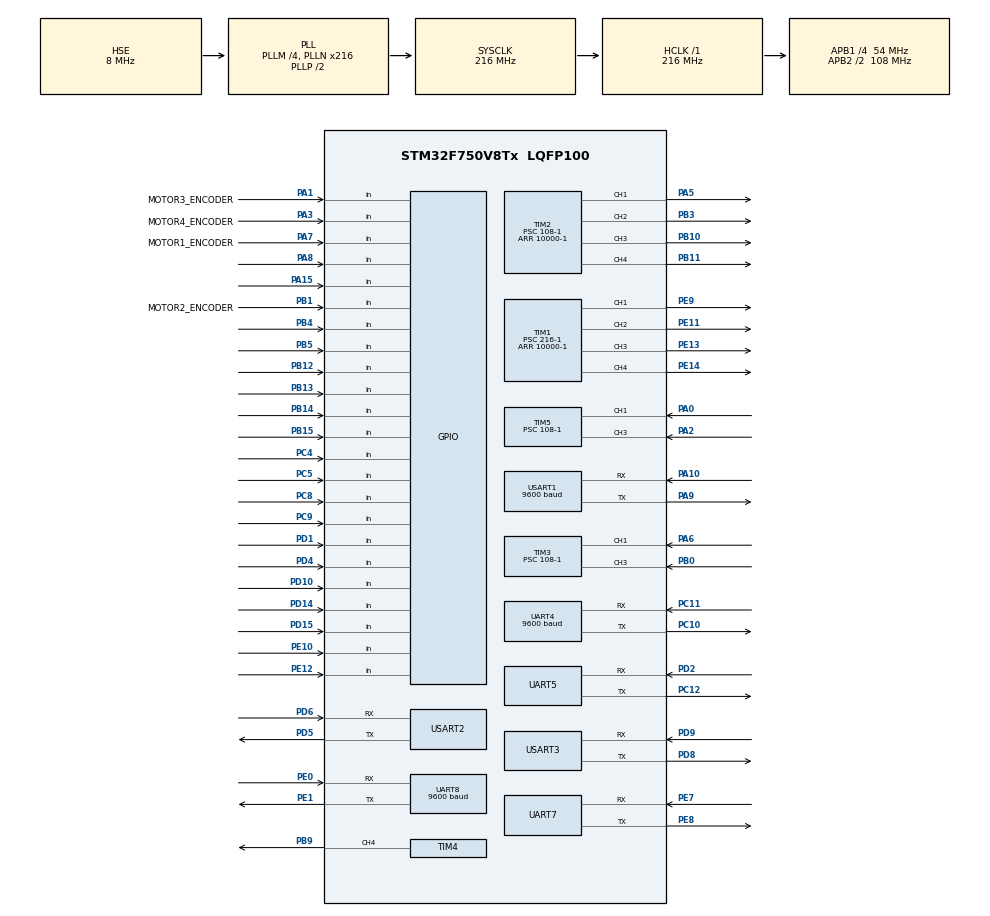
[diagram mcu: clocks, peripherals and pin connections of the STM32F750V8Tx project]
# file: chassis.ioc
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Dma.Request0=USART2_RX
Dma.Request1=UART4_RX
Dma.Request2=UART8_RX
Dma.Request3=USART1_RX
Dma.Request4=UART7_RX
Dma.UART4_RX.1.Direction=DMA_PERIPH_TO_MEMORY
Dma.UART4_RX.1.FIFOMode=DMA_FIFOMODE_DISABLE
Dma.UART4_RX.1.Instance=DMA1_Stream2
Dma.UART4_RX.1.MemDataAlignment=DMA_MDATAALIGN_BYTE
Dma.UART4_RX.1.MemInc=DMA_MINC_ENABLE
Dma.UART4_RX.1.Mode=DMA_NORMAL
Dma.UART4_RX.1.PeriphDataAlignment=DMA_PDATAALIGN_BYTE
Dma.UART4_RX.1.PeriphInc=DMA_PINC_DISABLE
Dma.UART4_RX.1.Priority=DMA_PRIORITY_LOW
Dma.UART7_RX.4.Direction=DMA_PERIPH_TO_MEMORY
Dma.UART7_RX.4.FIFOMode=DMA_FIFOMODE_DISABLE
Dma.UART7_RX.4.Instance=DMA1_Stream3
Dma.UART7_RX.4.MemDataAlignment=DMA_MDATAALIGN_BYTE
Dma.UART7_RX.4.MemInc=DMA_MINC_ENABLE
Dma.UART7_RX.4.Mode=DMA_NORMAL
Dma.UART7_RX.4.PeriphDataAlignment=DMA_PDATAALIGN_BYTE
Dma.UART7_RX.4.PeriphInc=DMA_PINC_DISABLE
Dma.UART7_RX.4.Priority=DMA_PRIORITY_LOW
Dma.UART8_RX.2.Direction=DMA_PERIPH_TO_MEMORY
Dma.UART8_RX.2.FIFOMode=DMA_FIFOMODE_DISABLE
Dma.UART8_RX.2.Instance=DMA1_Stream6
Dma.UART8_RX.2.MemDataAlignment=DMA_MDATAALIGN_BYTE
Dma.UART8_RX.2.MemInc=DMA_MINC_ENABLE
Dma.UART8_RX.2.Mode=DMA_NORMAL
Dma.UART8_RX.2.PeriphDataAlignment=DMA_PDATAALIGN_BYTE
Dma.UART8_RX.2.PeriphInc=DMA_PINC_DISABLE
Dma.UART8_RX.2.Priority=DMA_PRIORITY_LOW
Dma.USART1_RX.3.Direction=DMA_PERIPH_TO_MEMORY
Dma.USART1_RX.3.FIFOMode=DMA_FIFOMODE_DISABLE
Dma.USART1_RX.3.Instance=DMA2_Stream2
Dma.USART1_RX.3.MemDataAlignment=DMA_MDATAALIGN_BYTE
Dma.USART1_RX.3.MemInc=DMA_MINC_ENABLE
Dma.USART1_RX.3.Mode=DMA_NORMAL
Dma.USART1_RX.3.PeriphDataAlignment=DMA_PDATAALIGN_BYTE
Dma.USART1_RX.3.PeriphInc=DMA_PINC_DISABLE
Dma.USART1_RX.3.Priority=DMA_PRIORITY_LOW
Dma.USART2_RX.0.Direction=DMA_PERIPH_TO_MEMORY
Dma.USART2_RX.0.FIFOMode=DMA_FIFOMODE_DISABLE
Dma.USART2_RX.0.Instance=DMA1_Stream5
Dma.USART2_RX.0.MemDataAlignment=DMA_MDATAALIGN_BYTE
Dma.USART2_RX.0.MemInc=DMA_MINC_ENABLE
Dma.USART2_RX.0.Mode=DMA_NORMAL
Dma.USART2_RX.0.PeriphDataAlignment=DMA_PDATAALIGN_BYTE
Dma.USART2_RX.0.PeriphInc=DMA_PINC_DISABLE
Dma.USART2_RX.0.Priority=DMA_PRIORITY_LOW
Mcu.Family=STM32F7
Mcu.Name=STM32F750V8Tx
Mcu.Package=LQFP100
NVIC.DMA1_Stream2_IRQn=true\:0\:0\:false\:false\:true\:false\:true
NVIC.DMA1_Stream3_IRQn=true\:0\:0\:false\:false\:true\:false\:true
NVIC.DMA1_Stream5_IRQn=true\:0\:0\:false\:false\:true\:false\:true
NVIC.DMA1_Stream6_IRQn=true\:0\:0\:false\:false\:true\:false\:true
NVIC.DMA2_Stream2_IRQn=true\:0\:0\:false\:false\:true\:false\:true
NVIC.PriorityGroup=NVIC_PRIORITYGROUP_4
NVIC.TIM3_IRQn=true\:0\:0\:false\:false\:true\:true\:true
NVIC.TIM5_IRQn=true\:0\:0\:true\:false\:true\:true\:true
NVIC.TIM6_DAC_IRQn=true\:5\:0\:true\:false\:true\:true\:true
NVIC.UART4_IRQn=true\:3\:0\:true\:false\:true\:true\:true
NVIC.UART5_IRQn=true\:4\:0\:true\:false\:true\:true\:true
NVIC.UART7_IRQn=true\:0\:0\:false\:false\:true\:true\:true
NVIC.UART8_IRQn=true\:2\:0\:true\:false\:true\:true\:true
NVIC.USART2_IRQn=true\:1\:0\:true\:false\:true\:true\:true
PA0/WKUP.GPIO_PuPd=GPIO_PULLDOWN
PA0/WKUP.Signal=S_TIM5_CH1
PA1.GPIO_Label=MOTOR3_ENCODER
PA1.Signal=GPIO_Input
PA10.Mode=Asynchronous
PA10.Signal=USART1_RX
PA13.Mode=Serial_Wire
PA13.Signal=SYS_JTMS-SWDIO
PA14.Mode=Serial_Wire
PA14.Signal=SYS_JTCK-SWCLK
PA15.Signal=GPIO_Input
PA2.GPIO_PuPd=GPIO_PULLDOWN
PA2.Signal=S_TIM5_CH3
PA3.GPIO_Label=MOTOR4_ENCODER
PA3.Signal=GPIO_Input
PA5.Signal=S_TIM2_CH1_ETR
PA6.GPIO_PuPd=GPIO_PULLDOWN
PA6.Signal=S_TIM3_CH1
PA7.GPIO_Label=MOTOR1_ENCODER
PA7.Signal=GPIO_Input
PA8.GPIO_PuPd=GPIO_PULLDOWN
PA8.Signal=GPIO_Input
PA9.Mode=Asynchronous
PA9.Signal=USART1_TX
PB0.GPIO_PuPd=GPIO_PULLDOWN
PB0.Signal=S_TIM3_CH3
PB1.GPIO_Label=MOTOR2_ENCODER
PB1.Signal=GPIO_Input
PB10.Signal=S_TIM2_CH3
PB11.Signal=S_TIM2_CH4
PB12.Signal=GPIO_Input
PB13.Signal=GPIO_Input
PB14.Signal=GPIO_Input
PB15.Signal=GPIO_Input
PB3.Signal=S_TIM2_CH2
PB4.Signal=GPIO_Input
PB5.Signal=GPIO_Input
PB9.Signal=S_TIM4_CH4
PC10.Mode=Asynchronous
PC10.Signal=UART4_TX
PC11.Mode=Asynchronous
PC11.Signal=UART4_RX
PC12.Mode=Asynchronous
PC12.Signal=UART5_TX
PC4.Signal=GPIO_Input
PC5.Signal=GPIO_Input
PC8.GPIO_PuPd=GPIO_PULLDOWN
PC8.Signal=GPIO_Input
PC9.GPIO_PuPd=GPIO_PULLDOWN
PC9.Signal=GPIO_Input
PD1.Signal=GPIO_Input
PD10.Signal=GPIO_Input
PD14.GPIO_PuPd=GPIO_PULLDOWN
PD14.Signal=GPIO_Input
PD15.GPIO_PuPd=GPIO_PULLDOWN
PD15.Signal=GPIO_Input
PD2.Mode=Asynchronous
PD2.Signal=UART5_RX
PD4.Signal=GPIO_Input
PD5.Mode=Asynchronous
PD5.Signal=USART2_TX
PD6.Mode=Asynchronous
PD6.Signal=USART2_RX
PD8.Mode=Asynchronous
PD8.Signal=USART3_TX
PD9.Mode=Asynchronous
PD9.Signal=USART3_RX
PE0.Mode=Asynchronous
PE0.Signal=UART8_RX
PE1.Mode=Asynchronous
PE1.Signal=UART8_TX
PE10.Signal=GPIO_Input
PE11.Signal=S_TIM1_CH2
PE12.Signal=GPIO_Input
PE13.Signal=S_TIM1_CH3
PE14.Signal=S_TIM1_CH4
PE7.Mode=Asynchronous
PE7.Signal=UART7_RX
PE8.Mode=Asynchronous
PE8.Signal=UART7_TX
PE9.Signal=S_TIM1_CH1
PH0/OSC_IN.Mode=HSE-External-Oscillator
PH0/OSC_IN.Signal=RCC_OSC_IN
PH1/OSC_OUT.Mode=HSE-External-Oscillator
PH1/OSC_OUT.Signal=RCC_OSC_OUT
ProjectManager.HeapSize=0x200
ProjectManager.StackSize=0x400
ProjectManager.TargetToolchain=MDK-ARM V5.32
RCC.AHBFreq_Value=216000000
RCC.APB1CLKDivider=RCC_HCLK_DIV4
RCC.APB1Freq_Value=54000000
RCC.APB1TimFreq_Value=108000000
RCC.APB2CLKDivider=RCC_HCLK_DIV2
RCC.APB2Freq_Value=108000000
RCC.APB2TimFreq_Value=216000000
RCC.CortexFreq_Value=216000000
RCC.HCLKFreq_Value=216000000
RCC.HSE_VALUE=8000000
RCC.HSI_VALUE=16000000
RCC.LSE_VALUE=32768
RCC.PLLM=4
RCC.PLLN=216
RCC.PLLSourceVirtual=RCC_PLLSOURCE_HSE
RCC.SYSCLKFreq_VALUE=216000000
RCC.SYSCLKSource=RCC_SYSCLKSOURCE_PLLCLK
RCC.USBFreq_Value=216000000
RCC.VCOOutputFreq_Value=432000000
SH.S_TIM1_CH1.0=TIM1_CH1,PWM Generation1 CH1
SH.S_TIM1_CH2.0=TIM1_CH2,PWM Generation2 CH2
SH.S_TIM1_CH3.0=TIM1_CH3,PWM Generation3 CH3
SH.S_TIM1_CH4.0=TIM1_CH4,PWM Generation4 CH4
SH.S_TIM2_CH1_ETR.0=TIM2_CH1,PWM Generation1 CH1
SH.S_TIM2_CH2.0=TIM2_CH2,PWM Generation2 CH2
SH.S_TIM2_CH3.0=TIM2_CH3,PWM Generation3 CH3
SH.S_TIM2_CH4.0=TIM2_CH4,PWM Generation4 CH4
SH.S_TIM3_CH1.0=TIM3_CH1,Input_Capture1_from_TI1
SH.S_TIM3_CH3.0=TIM3_CH3,Input_Capture3_from_TI3
SH.S_TIM4_CH4.0=TIM4_CH4,PWM Generation4 CH4
SH.S_TIM5_CH1.0=TIM5_CH1,Input_Capture1_from_TI1
SH.S_TIM5_CH3.0=TIM5_CH3,Input_Capture3_from_TI3
TIM1.AutoReloadPreload=TIM_AUTORELOAD_PRELOAD_DISABLE
TIM1.Channel-PWM\ Generation1\ CH1=TIM_CHANNEL_1
TIM1.Channel-PWM\ Generation2\ CH2=TIM_CHANNEL_2
TIM1.Channel-PWM\ Generation3\ CH3=TIM_CHANNEL_3
TIM1.Channel-PWM\ Generation4\ CH4=TIM_CHANNEL_4
TIM1.Period=10000-1
TIM1.Prescaler=216-1
TIM2.Channel-PWM\ Generation1\ CH1=TIM_CHANNEL_1
TIM2.Channel-PWM\ Generation2\ CH2=TIM_CHANNEL_2
TIM2.Channel-PWM\ Generation3\ CH3=TIM_CHANNEL_3
TIM2.Channel-PWM\ Generation4\ CH4=TIM_CHANNEL_4
TIM2.Period=10000-1
TIM2.Prescaler=108-1
TIM3.AutoReloadPreload=TIM_AUTORELOAD_PRELOAD_ENABLE
TIM3.Channel-Input_Capture1_from_TI1=TIM_CHANNEL_1
TIM3.Channel-Input_Capture3_from_TI3=TIM_CHANNEL_3
TIM3.ICFilter_CH1=0
TIM3.ICFilter_CH3=0
TIM3.Prescaler=108-1
TIM4.AutoReloadPreload=TIM_AUTORELOAD_PRELOAD_ENABLE
TIM4.Channel-PWM\ Generation4\ CH4=TIM_CHANNEL_4
TIM4.Period=10000-1
TIM4.Prescaler=108-1
TIM5.AutoReloadPreload=TIM_AUTORELOAD_PRELOAD_ENABLE
TIM5.Channel-Input_Capture1_from_TI1=TIM_CHANNEL_1
TIM5.Channel-Input_Capture3_from_TI3=TIM_CHANNEL_3
TIM5.ICFilter_CH1=0
TIM5.ICFilter_CH3=0
TIM5.Period=65535
TIM5.Prescaler=108-1
TIM6.AutoReloadPreload=TIM_AUTORELOAD_PRELOAD_ENABLE
TIM6.Period=10000-1
TIM6.Prescaler=108-1
UART4.BaudRate=9600
UART8.BaudRate=9600
USART1.BaudRate=9600
USART1.VirtualMode-Asynchronous=VM_ASYNC
USART2.VirtualMode-Asynchronous=VM_ASYNC
USART3.VirtualMode-Asynchronous=VM_ASYNC
VP_TIM1_VS_ClockSourceINT.Mode=Internal
VP_TIM2_VS_ClockSourceINT.Mode=Internal
VP_TIM4_VS_ClockSourceINT.Mode=Internal
VP_TIM6_VS_ClockSourceINT.Mode=Enable_Timer
board=custom

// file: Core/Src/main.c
/* USER CODE BEGIN Header */
/**
  ******************************************************************************
  * @file           : main.c
  * @brief          : Main program body
  ******************************************************************************
  * @attention
  *
  * <h2><center>&copy; Copyright (c) 2021 STMicroelectronics.
  * All rights reserved.</center></h2>
  *
  * This software component is licensed by ST under BSD 3-Clause license,
  * the "License"; You may not use this file except in compliance with the
  * License. You may obtain a copy of the License at:
  *                        opensource.org/licenses/BSD-3-Clause
  *
  ******************************************************************************
  */
/* USER CODE END Header */
#include "main.h"
#include "dma.h"
#include "tim.h"
#include "usart.h"
#include "gpio.h"

/* USER CODE BEGIN Includes */
#include "motor_pwm.h"
#include "motor_encoder.h"
#include "motor_config.h"
#include "motor.h"
#include "motor_task.h"
#include "track_task.h"
#include "avoid_obj_task.h"
#include "imu_task.h"
#include "qrcode.h"
#include "ats522.h"
#include "walk_task.h"
#include "turnover_steering.h"
#include "lsc.h"
#include "openmv.h"
#include "turntable_task.h"
#include "catch_task.h"
#include "bsp_delay.h"
#include "stack_transfer.h"
#include "stake_task.h"

/* USER CODE END Includes */

/* USER CODE BEGIN PV */
extern uint32_t waittime;
/* USER CODE END PV */

void SystemClock_Config(void);

int main(void)
{

  /* MCU Configuration--------------------------------------------------------*/

  /* Reset of all peripherals, Initializes the Flash interface and the Systick. */
  HAL_Init();

  /* Configure the system clock */
  SystemClock_Config();

  /* Initialize all configured peripherals */
  MX_GPIO_Init();
  MX_TIM1_Init();
  MX_TIM2_Init();
  MX_TIM3_Init();
  MX_TIM5_Init();
  MX_UART5_Init();
  MX_USART3_UART_Init();
  MX_DMA_Init();
  MX_TIM6_Init();
  MX_USART2_UART_Init();
  MX_UART4_Init();
  MX_UART7_Init();
  MX_UART8_Init();
  MX_USART1_UART_Init();
  MX_TIM4_Init();
  /* USER CODE BEGIN 2 */

  /* 初始化系统时钟滴答定时延时功能*/
  delay_init();

  /* 初始化时间周期模块*/
  HAL_TIM_Base_Start_IT(&htim6);

  /* 初始化周转舵机*/
  Steering_Init(&turnover_steering);

  /*初始化串口2 DMA 接收循迹信息*/
  receive_trackboard_Init(&front_bar);

  /*初始化串口4 DMA 接收二维码信息*/
  receive_qrcode_Init(&qrcode);

  /*初始化串口5  接收imu传回姿态角信息*/
  //receive_imu901_Init(&attitude);

  /*初始化串口7  接收openmv传回的动作状态*/
  receive_openmv_Init(&openmv);

  /*初始化串口8  接收ats522模块传回IC卡信息*/
  receive_ats522_Init(&ats522);

  /* 初始化四个电机并使能*/
  extern motor_t motor1;
  extern motor_t motor2;
  extern motor_t motor3;
  extern motor_t motor4;

  motor1_Enable(&motor1);
  motor2_Enable(&motor2);
  motor3_Enable(&motor3);
  motor4_Enable(&motor4);

  /* 初始化电机最外层pid数据*/
  extern pid_data_t motor1_pid_data;
  extern pid_data_t motor2_pid_data;
  extern pid_data_t motor3_pid_data;
  extern pid_data_t motor4_pid_data;

  motor_pid_data_init(&motor1_pid_data);
  motor_pid_data_init(&motor2_pid_data);
  motor_pid_data_init(&motor3_pid_data);
  motor_pid_data_init(&motor4_pid_data);

  /* 初始化循迹pid数据*/
  extern pid_data_t track_pid_data;
  track_pid_data_init(&track_pid_data);

  /* 初始化陀螺仪pid数据*/
  //extern pid_data_t imu_pid_data;
  //imu_pid_data_init(&imu_pid_data);

  /* 关闭陀螺仪*/
  //set_imu_status(&attitude,false);

  /*二维码恢复用户默认设置*/
  QR_restore_default();

	/* 使能底盘*/
  change_chassis_status(true);

	/* 初始化动作组*/
	servogroup_InitInit();

	delay_ms(2000);
	/*选择红球还是蓝球*/
	//set_chassis_speed(0,30,0);
	blue_or_red();

  /* USER CODE END 2 */

  /* Infinite loop */
  while (1)
  {

  }
}

void SystemClock_Config(void)
{
  RCC_OscInitTypeDef RCC_OscInitStruct = {0};
  RCC_ClkInitTypeDef RCC_ClkInitStruct = {0};
  RCC_PeriphCLKInitTypeDef PeriphClkInitStruct = {0};

  /** Configure the main internal regulator output voltage
  */
  __HAL_RCC_PWR_CLK_ENABLE();
  __HAL_PWR_VOLTAGESCALING_CONFIG(PWR_REGULATOR_VOLTAGE_SCALE1);
  /** Initializes the RCC Oscillators according to the specified parameters
  * in the RCC_OscInitTypeDef structure.
  */
  RCC_OscInitStruct.OscillatorType = RCC_OSCILLATORTYPE_HSE;
  RCC_OscInitStruct.HSEState = RCC_HSE_ON;
  RCC_OscInitStruct.PLL.PLLState = RCC_PLL_ON;
  RCC_OscInitStruct.PLL.PLLSource = RCC_PLLSOURCE_HSE;
  RCC_OscInitStruct.PLL.PLLM = 4;
  RCC_OscInitStruct.PLL.PLLN = 216;
  RCC_OscInitStruct.PLL.PLLP = RCC_PLLP_DIV2;
  RCC_OscInitStruct.PLL.PLLQ = 2;
  if (HAL_RCC_OscConfig(&RCC_OscInitStruct) != HAL_OK)
  {
    Error_Handler();
  }
  /** Activate the Over-Drive mode
  */
  if (HAL_PWREx_EnableOverDrive() != HAL_OK)
  {
    Error_Handler();
  }
  /** Initializes the CPU, AHB and APB buses clocks
  */
  RCC_ClkInitStruct.ClockType = RCC_CLOCKTYPE_HCLK|RCC_CLOCKTYPE_SYSCLK
                              |RCC_CLOCKTYPE_PCLK1|RCC_CLOCKTYPE_PCLK2;
  RCC_ClkInitStruct.SYSCLKSource = RCC_SYSCLKSOURCE_PLLCLK;
  RCC_ClkInitStruct.AHBCLKDivider = RCC_SYSCLK_DIV1;
  RCC_ClkInitStruct.APB1CLKDivider = RCC_HCLK_DIV4;
  RCC_ClkInitStruct.APB2CLKDivider = RCC_HCLK_DIV2;

  if (HAL_RCC_ClockConfig(&RCC_ClkInitStruct, FLASH_LATENCY_7) != HAL_OK)
  {
    Error_Handler();
  }
  PeriphClkInitStruct.PeriphClockSelection = RCC_PERIPHCLK_USART1|RCC_PERIPHCLK_USART2
                              |RCC_PERIPHCLK_USART3|RCC_PERIPHCLK_UART4
                              |RCC_PERIPHCLK_UART5|RCC_PERIPHCLK_UART7
                              |RCC_PERIPHCLK_UART8;
  PeriphClkInitStruct.Usart1ClockSelection = RCC_USART1CLKSOURCE_PCLK2;
  PeriphClkInitStruct.Usart2ClockSelection = RCC_USART2CLKSOURCE_PCLK1;
  PeriphClkInitStruct.Usart3ClockSelection = RCC_USART3CLKSOURCE_PCLK1;
  PeriphClkInitStruct.Uart4ClockSelection = RCC_UART4CLKSOURCE_PCLK1;
  PeriphClkInitStruct.Uart5ClockSelection = RCC_UART5CLKSOURCE_PCLK1;
  PeriphClkInitStruct.Uart7ClockSelection = RCC_UART7CLKSOURCE_PCLK1;
  PeriphClkInitStruct.Uart8ClockSelection = RCC_UART8CLKSOURCE_PCLK1;
  if (HAL_RCCEx_PeriphCLKConfig(&PeriphClkInitStruct) != HAL_OK)
  {
    Error_Handler();
  }
}

/* USER CODE BEGIN 4 */

/**********************************************************************
  * 函数名：HAL_UARTEx_RxEventCallback
  * 描述: 串口接收中断回调
  * 参数：串口句柄  传输数据大小
  * 返回值:无
***********************************************************************/
//void HAL_UART_RxCpltCallback(UART_HandleTypeDef *huart){
//
//    /*串口5 中断接收一个陀螺仪传回字节*/
//	if(huart->Instance == attitude.huart->Instance){
//        receive_imu901_IRQ(&attitude);
//	}
//}

/**********************************************************************
  * 函数名：HAL_UARTEx_RxEventCallback
  * 描述: 串口DMA接收
  * 参数：串口句柄  传输数据大小
  * 返回值:无
***********************************************************************/
void HAL_UARTEx_RxEventCallback(UART_HandleTypeDef *huart, uint16_t Size){

	/*串口2 DMA模式接受拓展板传回数据*/
		if(huart->Instance == USART2){
			receive_trackboard_IRQ(&front_bar);
			Get_trackboard(&front_bar);
			Get_trackboard(&back_bar);
			//Get_trackboard(&side_bar);
		}

    /*串口4 DMA模式接受二维码传回数据*/
    if(huart->Instance == qrcode.huart->Instance) {
			  //printf("%d\r\n",Size);
        receive_qrcode_IRQ(&qrcode);
				Get_qrcode(&qrcode);
    }

    /*串口7 DMA模式接受openmv传回数据*/
    if(huart->Instance == openmv.huart->Instance) {
        receive_openmv_IRQ(&openmv);
				Get_openmv(&openmv);
    }

    /*串口8 DMA模式接受ats522传回数据*/
    if(huart->Instance == ats522.huart->Instance) {
        receive_ats522_IRQ(&ats522);
    }
}

/* USER CODE END 4 */

void Error_Handler(void)
{
  __disable_irq();
  while (1)
  {
  }
}

/************************ (C) COPYRIGHT STMicroelectronics *****END OF FILE****/
